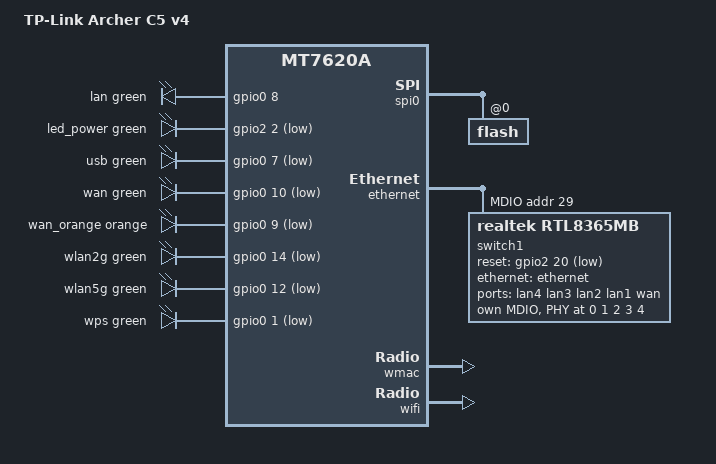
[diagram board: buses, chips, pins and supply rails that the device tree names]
// SPDX-License-Identifier: GPL-2.0-or-later OR MIT
/dts-v1/;

#include "mt7620a_tplink_archer.dtsi"
#include <dt-bindings/leds/common.h>
#include <dt-bindings/interrupt-controller/irq.h>

/ {
	compatible = "tplink,archer-c5-v4", "ralink,mt7620a-soc";
	model = "TP-Link Archer C5 v4";

	aliases {
		led-boot = &led_power;
		led-failsafe = &led_power;
		led-running = &led_power;
		led-upgrade = &led_power;
		label-mac-device = &ethernet;
	};

	leds {
		compatible = "gpio-leds";

		lan {
			function = LED_FUNCTION_LAN;
			color = <LED_COLOR_ID_GREEN>;
			gpios = <&gpio0 8 GPIO_ACTIVE_HIGH>;
		};

		led_power: power {
			function =LED_FUNCTION_POWER;
			color = <LED_COLOR_ID_GREEN>;
			gpios = <&gpio2 2 GPIO_ACTIVE_LOW>;
		};

		usb {
			function = LED_FUNCTION_USB;
			color = <LED_COLOR_ID_GREEN>;
			gpios = <&gpio0 7 GPIO_ACTIVE_LOW>;
			trigger-sources = <&ohci_port1>, <&ehci_port1>;
			linux,default-trigger = "usbport";
		};

		wan {

			function = LED_FUNCTION_WAN;
			color = <LED_COLOR_ID_GREEN>;
			gpios = <&gpio0 10 GPIO_ACTIVE_LOW>;
		};

		wan_orange {
			function = LED_FUNCTION_WAN;
			color = <LED_COLOR_ID_ORANGE>;
			gpios = <&gpio0 9 GPIO_ACTIVE_LOW>;
		};

		wlan2g {
			function = LED_FUNCTION_WLAN;
			function-enumerator = <2>;
			color = <LED_COLOR_ID_GREEN>;
			gpios = <&gpio0 14 GPIO_ACTIVE_LOW>;
			linux,default-trigger = "phy1tpt";
		};

		wlan5g {
			function = LED_FUNCTION_WLAN;
			function-enumerator = <5>;
			color = <LED_COLOR_ID_GREEN>;
			gpios = <&gpio0 12 GPIO_ACTIVE_LOW>;
			linux,default-trigger = "phy0tpt";
		};

		wps {
			function = LED_FUNCTION_WPS;
			color = <LED_COLOR_ID_GREEN>;
			gpios = <&gpio0 1 GPIO_ACTIVE_LOW>;
		};
	};
};

&gpio0 {
	interrupt-controller;
	#interrupt-cells = <2>;
};

&spi0 {
	flash@0 {
		#address-cells = <1>;
		#size-cells = <1>;
	};
};

&state_default {
	gpio {
		groups = "i2c", "uartf", "ephy", "rgmii2";
		function = "gpio";
	};
};

&ethernet {
	pinctrl-names = "default";
	pinctrl-0 = <&rgmii1_pins &mdio_pins>;

	nvmem-cells = <&macaddr_rom_f100>;
	nvmem-cell-names = "mac-address";

	/* Internal switch is used as transparent switch connecting
	   its port6 (CPU) to external switch through port5 */
	/delete-property/ mediatek,portmap;

	/* Currrent realtek DSA driver forces forwarding on CPU */
	mediatek,mac-learn-disable;

	port@5 {
		status = "okay";
		mediatek,fixed-link = <1000 1 1 1>;
		phy-mode = "rgmii";
	};

	mdio0: mdio-bus {
		status = "okay";
	};
};

&mdio0 {
	switch1@29 {

		compatible = "realtek,rtl8365mb";
		reg = <29>;

		reset-gpios = <&gpio2 20 GPIO_ACTIVE_LOW>;

	        switch_intc: interrupt-controller {
			interrupt-parent = <&gpio0>;
			interrupts = <11 IRQ_TYPE_EDGE_FALLING>;
			interrupt-controller;
			#address-cells = <0>;
			#interrupt-cells = <1>;
	        };

		mdio {
			#address-cells = <1>;
			#size-cells = <0>;

			phy0: ethernet-phy@0 {
				reg = <0>;
				interrupt-parent = <&switch_intc>;
				interrupts = <0>;
			};
			phy1: ethernet-phy@1 {
				reg = <1>;
				interrupt-parent = <&switch_intc>;
				interrupts = <1>;
			};
			phy2: ethernet-phy@2 {
				reg = <2>;
				interrupt-parent = <&switch_intc>;
				interrupts = <2>;
			};
			phy3: ethernet-phy@3 {
				reg = <3>;
				interrupt-parent = <&switch_intc>;
				interrupts = <3>;
			};
			phy4: ethernet-phy@4 {
				reg = <4>;
				interrupt-parent = <&switch_intc>;
				interrupts = <4>;
			};
		};

		ports {
			#address-cells = <1>;
			#size-cells = <0>;
			reg = <0>;

			port@0 {
				reg = <0>;
				label = "lan4";
				phy-handle = <&phy0>;
			};

			port@1 {
				reg = <1>;
				label = "lan3";
				phy-handle = <&phy1>;
			};

			port@2 {
				reg = <2>;
				label = "lan2";
				phy-handle = <&phy2>;
			};

			port@3 {
				reg = <3>;
				label = "lan1";
				phy-handle = <&phy3>;
			};

			port@4 {
				reg = <4>;
				label = "wan";
				nvmem-cells = <&macaddr_rom_f100>;
				nvmem-cell-names = "mac-address";
				mac-address-increment = <(1)>;
				phy-handle = <&phy4>;
			};

			port@7 {
				reg = <7>;
				ethernet = <&ethernet>;
				phy-mode = "rgmii";
				tx-internal-delay-ps = <2000>;
				rx-internal-delay-ps = <0>;

				dsa-tag-protocol = "rtl8_4";

				fixed-link {
					speed = <1000>;
					full-duplex;
				};
			};
		};
	};
};

&wmac {
	pinctrl-names = "default", "pa_gpio";
	pinctrl-0 = <&pa_pins>;
	pinctrl-1 = <&pa_gpio_pins>;

	ralink,mtd-eeprom = <&radio 0x0>;
	nvmem-cells = <&macaddr_rom_f100>;
	nvmem-cell-names = "mac-address";
};

&wifi {
	nvmem-cells = <&macaddr_rom_f100 2>;
	nvmem-cell-names = "mac-address";
};
